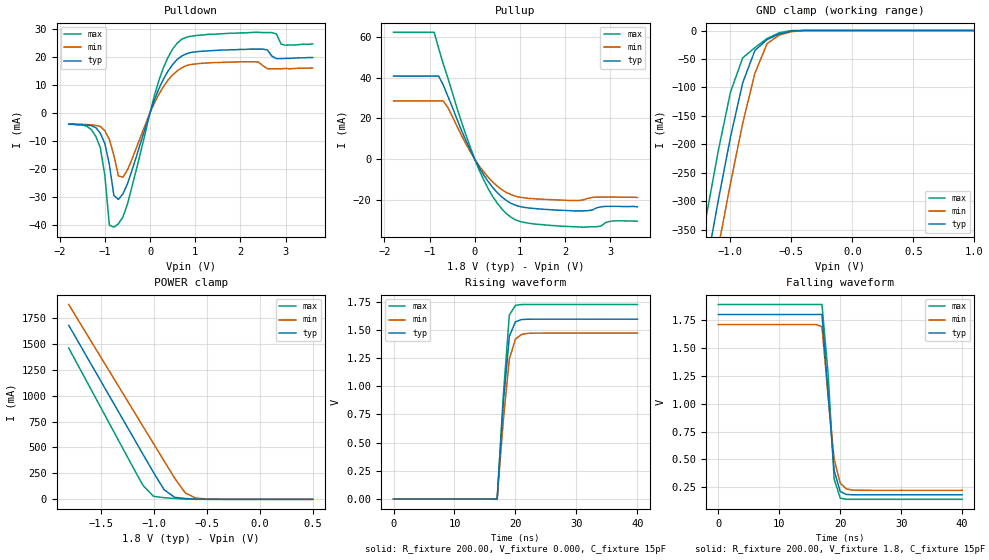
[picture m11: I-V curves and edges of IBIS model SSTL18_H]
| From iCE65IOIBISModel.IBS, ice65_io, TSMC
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|   Model SSTL18_H
[Model]   SSTL18_H
Model_type   I/O
Polarity   Non-Inverting
Enable   Active-High
Vinl =   0.63V
Vinh =   1.17V
Vmeas =   0.9V
Cref =  15.00pF
Rref =   1.00M
Vref =  0.000V
C_comp   1.30pF   1.17pF   1.43pF
[Temperature Range]   25.00   85   -40.00
[Voltage Range]   1.8V   1.71V   1.89V
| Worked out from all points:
|   slope of the pulldown table from 0 to 0.27 V, typ, clamps not added: 24.4 ohm
|   slope of the pullup table from 0 to 0.27 V, typ, clamps not added: 26.9 ohm
|   GND clamp passes 1 mA (typ) near -0.50 V on its own axis
|   POWER clamp passes 1 mA (typ) near -0.52 V on its own axis
|   rising waveform, R_fixture 200.00, V_fixture 0.000, C_fixture 15pF: 20-80 % time 1.34ns typ, 1.46ns min, 1.27ns max; typ from 0 V to 1.59 V
|   falling waveform, R_fixture 200.00, V_fixture 1.8, C_fixture 15pF: 20-80 % time 1.39ns typ, 1.52ns min, 1.26ns max; typ from 1.8 V to 0.182 V
[Pulldown]
| voltage I(typ) I(min) I(max)
-1.8V     -4mA       -3.9mA     -4mA
-1.2V     -5.2mA     -4.4mA     -8.3mA
-1.1V     -7.2mA     -4.8mA     -12.4mA
-1V       -10.9mA    -6.3mA     -22.3mA
-900mV    -18.4mA    -9.4mA     -40mA
-800mV    -29.4mA    -15.1mA    -40.7mA
-700mV    -30.8mA    -22.4mA    -39.5mA
-600mV    -28.8mA    -22.9mA    -37.1mA
200mV     8.8mA      6.8mA      11.8mA
600mV     19.1mA     15mA       24.9mA
2.4V      22.8mA     18.2mA     28.8mA
3.6V      19.8mA     16.1mA     24.7mA
[Pullup]
| voltage I(typ) I(min) I(max)
-1.8V     40.8mA     28.6mA     62.3mA
-900mV    40.8mA     28.6mA     62.3mA
-800mV    40.8mA     28.6mA     54.4mA
-700mV    36.5mA     28.6mA     46.9mA
-600mV    31.1mA     25.5mA     40.1mA
0V        -100uA     -100uA     -100uA
300mV     -11.1mA    -9mA       -14.7mA
700mV     -20.3mA    -16.4mA    -26.8mA
1V        -23.3mA    -18.7mA    -30.6mA
1.9V      -25.1mA    -20.1mA    -32.9mA
2.7V      -23.9mA    -18.6mA    -33.2mA
3.6V      -23.4mA    -18.8mA    -30.5mA
[GND_clamp]
| voltage I(typ) I(min) I(max)
-1.8V     -1.146A    -1.208A    -1.081A
-1.3V     -535mA     -613mA     -451mA
-1.2V     -416mA     -496mA     -328mA
-1.1V     -298mA     -381mA     -211mA
-1V       -187mA     -268mA     -108mA
-900mV    -92mA      -163mA     -48mA
-800mV    -35mA      -75mA      -30mA
-700mV    -16mA      -23mA      -14mA
-600mV    -6mA       -8mA       -4mA
-500mV    -1mA       -2mA       0A
-400mV    0A         0A         0A
1V        0A         0A         0A
[POWER_clamp]
| voltage I(typ) I(min) I(max)
-1.8V     1.678A     1.879A     1.459A
-1.1V     435.3mA    704.4mA    134.7mA
-1V       257.9mA    536.9mA    28.9mA
-900mV    91.8mA     369.3mA    15.8mA
-800mV    19.2mA     202.2mA    8mA
-700mV    8.2mA      60.4mA     2.3mA
-600mV    3mA        11.6mA     100uA
-400mV    0A         800uA      0A
500mV     0A         0A         0A
[Ramp]
| variable   typ   min   max
dV/dt_r   0.957/1.084n   0.88278/1.3125n  1.035144/0.85n
dV/dt_f   0.970488/1.4167n  0.892464/1.722n  1.048854/1.137n
R_load = 200
[Rising Waveform]
R_fixture = 200.00
V_fixture = 0.000
V_fixture_min = 0.000
V_fixture_max = 0.000
L_fixture = 0.000H
C_fixture = 15pF
| time   V(typ)   V(min)   V(max)
0s        0V         0V         0V
17ns      -3mV       0V         0V
18ns      846.2mV    691.9mV    911.3mV
19ns      1.444V     1.241V     1.632V
20ns      1.572V     1.418V     1.718V
21ns      1.592V     1.46V      1.725V
22ns      1.595V     1.469V     1.725V
40ns      1.595V     1.471V     1.725V
[Falling Waveform]
R_fixture = 200.00
V_fixture = 1.8
V_fixture_min = 1.71
V_fixture_max = 1.89
L_fixture = 0.000H
C_fixture = 15pF
| time   V(typ)   V(min)   V(max)
0s        1.8V       1.71V      1.89V
16ns      1.8V       1.71V      1.89V
17ns      1.801V     1.692V     1.89V
18ns      1.098V     1.069V     1.274V
19ns      400.1mV    502.8mV    324.9mV
20ns      211.7mV    286.5mV    152.5mV
21ns      185.9mV    235.4mV    142.4mV
22ns      182.9mV    225mV      141.9mV
40ns      182.5mV    222.5mV    141.9mV
